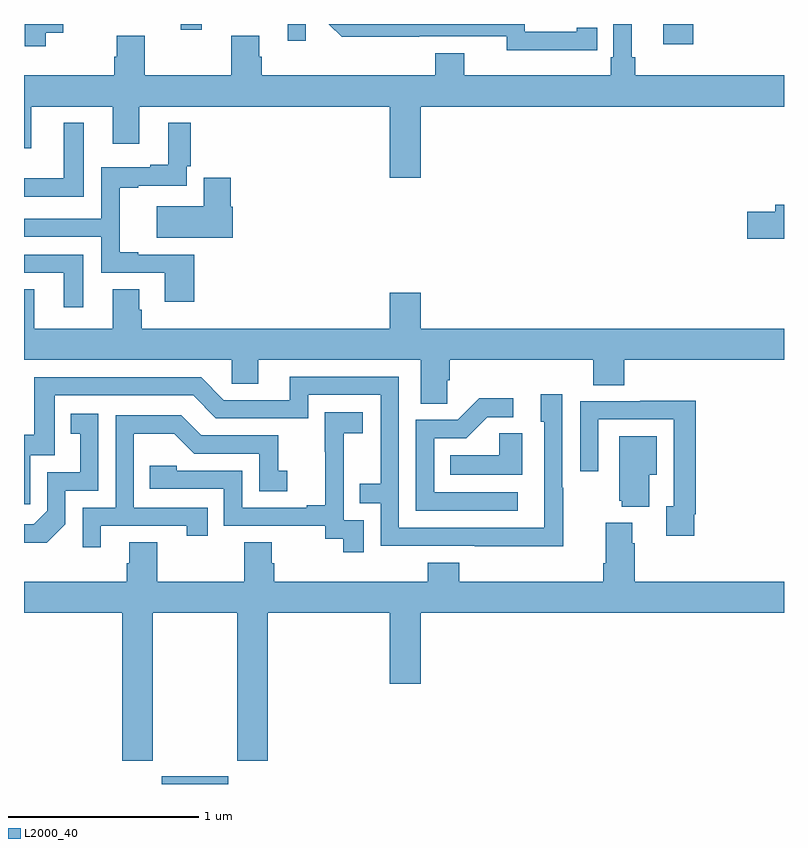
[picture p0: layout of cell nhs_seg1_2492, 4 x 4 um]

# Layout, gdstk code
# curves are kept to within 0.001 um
import gdstk
lib = gdstk.Library(unit=1e-6, precision=1e-09)
def R(c, l, rs):  # rectangles x0, y0, x1, y1
    for r in rs: c.add(gdstk.rectangle(r[:2], r[2:], *l))
def P(c, l, *ps):  # polygons
    for p in ps: c.add(gdstk.Polygon(p, *l))
L2000_40 = (2000, 40)

nhs_seg1_2492 = lib.new_cell('nhs_seg1_2492')
R(nhs_seg1_2492, L2000_40, [(247.724,516.199,248.074,516.241), (250.364,520.092,250.523,520.199), (248.387,520.11,248.484,520.199), (247.825,520.17,247.936,520.199)])
P(nhs_seg1_2492, L2000_40, [(247.114,520.153),(247.206,520.153),(247.206,520.199),(247.005,520.199),(247.005,520.083),(247.114,520.083)],
  [(249.908,520.062),(250.016,520.062),(250.016,520.178),(249.908,520.178),(249.908,520.158),(249.636,520.158),(249.636,520.199),(248.605,520.199),(248.672,520.133),(249.54,520.134),(249.54,520.061)],
  [(249.088,519.764),(251,519.764),(251,519.928),(250.217,519.928),(250.217,520.024),(250.198,520.024),(250.198,520.199),(250.101,520.199),(250.101,520.024),(250.088,520.024),(250.088,519.928),(249.316,519.928),(249.316,520.045),(249.164,520.045),(249.164,519.928),(248.252,519.928),(248.252,520.026),(248.239,520.026),(248.239,520.136),(248.092,520.136),(248.092,519.928),(247.635,519.928),(247.635,520.136),(247.487,520.136),(247.487,520.026),(247.475,520.026),(247.475,519.928),(247,519.928),(247,519.546),(247.039,519.546),(247.039,519.764),(247.466,519.764),(247.466,519.57),(247.606,519.57),(247.606,519.764),(248.924,519.764),(248.924,519.39),(249.088,519.39)],
  [(247.315,519.679),(247.208,519.679),(247.208,519.388),(247,519.388),(247,519.291),(247.315,519.291)],
  [(247.895,518.985),(247.6,518.985),(247.6,518.998),(247.505,518.998),(247.505,519.336),(247.6,519.336),(247.6,519.348),(247.857,519.348),(247.857,519.451),(247.877,519.451),(247.877,519.679),(247.76,519.679),(247.76,519.457),(247.664,519.457),(247.664,519.444),(247.407,519.444),(247.407,519.174),(247,519.174),(247,519.078),(247.407,519.078),(247.407,518.889),(247.742,518.889),(247.742,518.736),(247.895,518.736)],
  [(248.099,519.237),(248.087,519.237),(248.087,519.391),(247.946,519.391),(247.946,519.241),(247.698,519.241),(247.698,519.074),(248.099,519.074)],
  [(251,519.248),(250.955,519.248),(250.955,519.212),(250.806,519.212),(250.806,519.07),(251,519.07)],
  [(247.312,518.985),(247,518.985),(247,518.889),(247.208,518.889),(247.208,518.709),(247.312,518.709)],
  [(249.228,518.323),(249.242,518.323),(249.242,518.432),(249.995,518.432),(249.995,518.299),(250.16,518.299),(250.16,518.432),(251,518.432),(251,518.596),(249.088,518.596),(249.088,518.785),(248.924,518.785),(248.924,518.596),(247.619,518.596),(247.619,518.694),(247.606,518.694),(247.606,518.804),(247.466,518.804),(247.466,518.596),(247.054,518.596),(247.054,518.804),(247,518.804),(247,518.432),(248.094,518.432),(248.094,518.305),(248.233,518.305),(248.233,518.432),(249.089,518.432),(249.089,518.2),(249.228,518.2)],
  [(249.837,517.757),(249.834,517.757),(249.834,518.251),(249.719,518.251),(249.719,518.106),(249.738,518.106),(249.738,517.548),(248.973,517.548),(248.973,518.343),(248.399,518.343),(248.399,518.22),(248.052,518.22),(247.932,518.34),(247.053,518.34),(247.053,518.038),(247,518.038),(247,517.671),(247.032,517.671),(247.032,517.929),(247.161,517.929),(247.161,518.244),(247.89,518.244),(248.01,518.124),(248.496,518.124),(248.496,518.247),(248.877,518.247),(248.877,517.778),(248.767,517.778),(248.767,517.677),(248.877,517.677),(248.877,517.452),(249.837,517.451)],
  [(249.598,517.734),(249.159,517.734),(249.159,518.019),(249.328,518.019),(249.439,518.13),(249.574,518.13),(249.574,518.228),(249.395,518.228),(249.282,518.115),(249.063,518.115),(249.063,517.638),(249.598,517.638)],
  [(250.528,517.618),(250.535,517.618),(250.535,518.216),(250.243,518.216),(250.243,518.214),(249.927,518.214),(249.927,517.845),(250.023,517.845),(250.023,518.118),(250.419,518.118),(250.419,517.662),(250.379,517.662),(250.379,517.506),(250.528,517.506)],
  [(248.787,517.587),(248.682,517.587),(248.682,517.817),(248.684,517.817),(248.684,518.045),(248.782,518.045),(248.782,518.155),(248.584,518.155),(248.584,517.949),(248.585,517.949),(248.585,517.666),(248.489,517.666),(248.489,517.653),(248.148,517.653),(248.148,517.848),(247.803,517.848),(247.803,517.875),(247.663,517.875),(247.663,517.752),(248.052,517.752),(248.052,517.557),(248.586,517.557),(248.586,517.489),(248.679,517.489),(248.679,517.419),(248.787,517.419)],
  [(247.218,517.566),(247.218,517.743),(247.392,517.743),(247.392,518.149),(247.246,518.149),(247.246,518.043),(247.295,518.043),(247.295,517.839),(247.122,517.839),(247.122,517.638),(247.05,517.566),(247,517.566),(247,517.469),(247.12,517.469)],
  [(247.405,517.557),(247.856,517.557),(247.856,517.506),(247.967,517.506),(247.967,517.653),(247.578,517.653),(247.578,518.042),(247.792,518.042),(247.896,517.938),(248.238,517.938),(248.238,517.74),(248.386,517.74),(248.386,517.849),(248.337,517.849),(248.337,518.034),(247.933,518.034),(247.828,518.139),(247.482,518.139),(247.482,517.653),(247.308,517.653),(247.308,517.446),(247.405,517.446)],
  [(249.622,518.045),(249.501,518.045),(249.501,517.93),(249.244,517.93),(249.244,517.826),(249.622,517.826)],
  [(250.291,517.826),(250.33,517.826),(250.33,518.029),(250.133,518.029),(250.133,517.689),(250.145,517.689),(250.145,517.658),(250.291,517.658)],
  [(247.677,517.1),(248.122,517.1),(248.122,516.321),(248.282,516.321),(248.282,517.1),(248.924,517.1),(248.924,516.726),(249.088,516.726),(249.088,517.1),(251,517.1),(251,517.264),(250.214,517.264),(250.214,517.466),(250.201,517.466),(250.201,517.573),(250.061,517.573),(250.061,517.36),(250.049,517.36),(250.049,517.264),(249.29,517.264),(249.29,517.363),(249.125,517.363),(249.125,517.264),(248.318,517.264),(248.318,517.362),(248.305,517.362),(248.305,517.472),(248.158,517.472),(248.158,517.264),(247.701,517.264),(247.701,517.472),(247.553,517.472),(247.553,517.362),(247.541,517.362),(247.541,517.264),(247,517.264),(247,517.1),(247.517,517.1),(247.517,516.321),(247.677,516.321)])

lib.write_gds('nhs_seg1_2492.gds')
